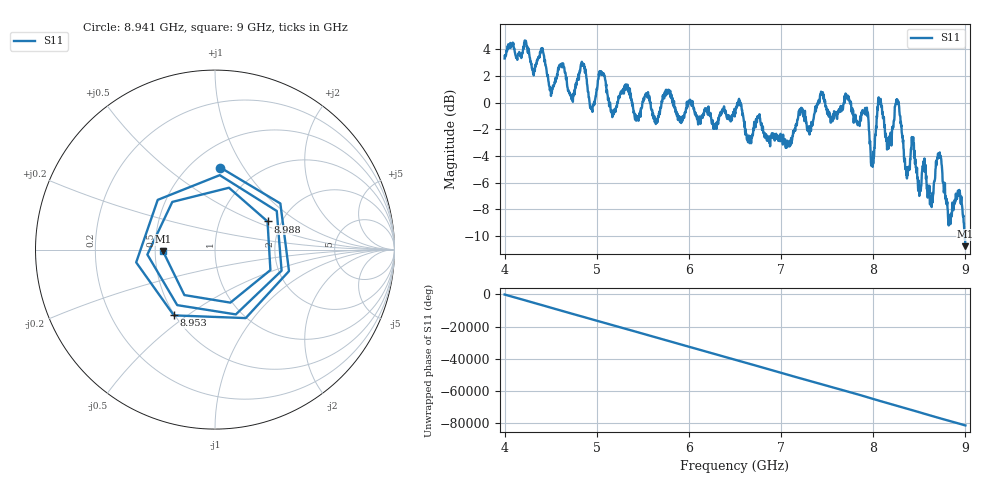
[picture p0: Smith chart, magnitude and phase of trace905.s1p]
! Created with skrf 1.8.0 (http://scikit-rf.org).
# Hz S RI R 50.0
!freq ReS11 ImS11
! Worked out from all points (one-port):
!   1601 points, 4 GHz to 9 GHz, reference 50 ohm
!   lowest |S11| = -10.8 dB at 9 GHz (marker M1), VSWR 1.82, Z = 27.5 - j0.532 ohm
!   |S11| at or under -10 dB: 8.992777 GHz to end of sweep
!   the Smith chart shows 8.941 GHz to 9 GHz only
!   S11 on the Smith chart (normalised r, x): 8.941 GHz: 0.69, +0.80; 8.953 GHz: 0.49, -0.45; 8.988 GHz: 1.69, +0.60; 9 GHz: 0.55, -0.01
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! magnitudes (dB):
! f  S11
! 4 GHz  3.3
! 4.406 GHz  3.9
! 4.506 GHz  0.8
! 4.625 GHz  2.6
! 4.725 GHz  0.3
! 4.844 GHz  2.8
! 4.944 GHz  -0.5
! 5.047 GHz  2.2
! 5.172 GHz  -0.6
! 5.25 GHz  0.5
! 5.875 GHz  -0.8
! 6.5 GHz  -0.7
! 7.125 GHz  -2.5
! 7.75 GHz  -0.1
! 7.925 GHz  -0.7
! 7.991 GHz  -4.5
! 8.062 GHz  -0.1
! 8.172 GHz  -2.9
! 8.259 GHz  0.3
! 8.375 GHz  -5.1
! 8.431 GHz  -2.8
! 8.628 GHz  -7.6
! 8.712 GHz  -3.8
! 8.828 GHz  -8.7
! 8.941 GHz  -6.8
! 8.953 GHz  -7.3
! 8.988 GHz  -9.6
! 9 GHz  -10.8
